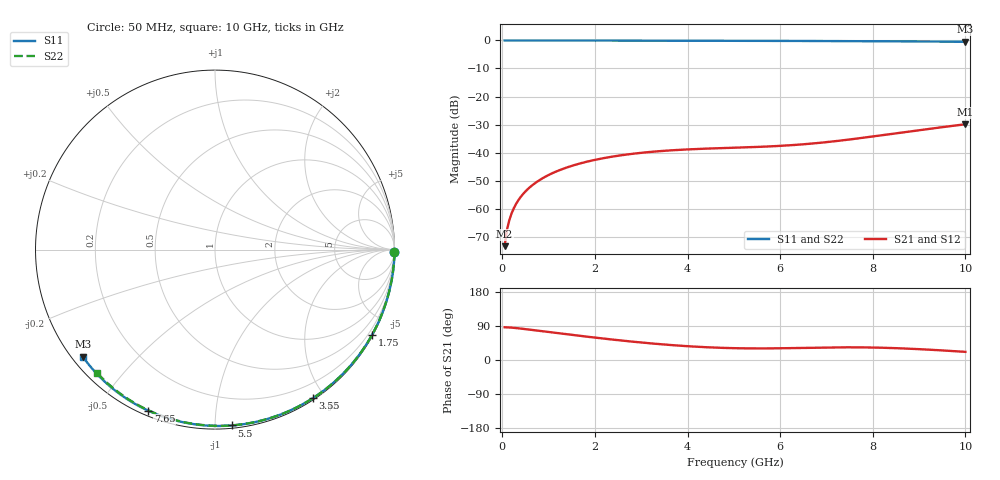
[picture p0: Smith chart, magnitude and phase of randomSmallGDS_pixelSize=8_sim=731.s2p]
! freq	dB(S11)	phase(S11)	dB(S12)	phase(S12)
!  dB(S21)	phase(S21)	dB(S22)	phase(S22)
!S-par simulation data
#  GHz  S  DB  R 50
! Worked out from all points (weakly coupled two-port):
!   200 points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, 50 MHz to 10 GHz, reference 50 ohm
!   highest |S21| = -29.88 dB at 10 GHz (marker M1); lowest = -73.4 dB at 50 MHz (marker M2)
!   lowest |S11| = -0.5 dB at 10 GHz (marker M3), VSWR 37.33, Z = 1.51 - j17.7 ohm
!   |S11| at or under -10 dB: nowhere
!   |S22| runs from -0.4 to 0.0 dB; largest |S21 - S12| = 0
!   S11 on the Smith chart (normalised r, x): 50 MHz: open; 1.75 GHz: 0.03, -3.92; 3.55 GHz: 0.02, -1.86; 5.5 GHz: 0.02, -1.10; 7.65 GHz: 0.02, -0.67; 10 GHz: 0.03, -0.35
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0.05  -0.00 -0.8  -73.36 86.4  -73.36 86.4  -0.00 -0.8
0.1  -0.00 -1.7  -67.60 86.1  -67.60 86.1  -0.00 -1.6
0.15  -0.00 -2.5  -64.16 85.9  -64.16 85.9  -0.00 -2.4
0.2  -0.00 -3.3  -61.71 85.5  -61.71 85.5  -0.00 -3.2
0.25  -0.00 -4.2  -59.79 84.9  -59.79 84.9  -0.00 -3.9
0.35  -0.00 -5.8  -56.90 83.6  -56.90 83.6  -0.00 -5.5
0.5  -0.01 -8.3  -53.84 81.5  -53.84 81.5  -0.01 -7.9
0.7  -0.01 -11.6  -50.97 78.5  -50.97 78.5  -0.01 -11.0
1  -0.02 -16.5  -47.98 73.9  -47.98 73.9  -0.02 -15.6
1.35  -0.03 -22.2  -45.55 68.6  -45.55 68.6  -0.03 -21.0
1.75  -0.04 -28.7  -43.55 62.7  -43.55 62.7  -0.03 -27.1
2.5  -0.05 -40.5  -41.11 52.3  -41.11 52.3  -0.05 -38.3
3.4  -0.07 -54.3  -39.47 41.8  -39.47 41.8  -0.07 -51.5
3.55  -0.08 -56.6  -39.29 40.3  -39.29 40.3  -0.07 -53.6
4.3  -0.10 -67.6  -38.64 34.3  -38.64 34.3  -0.09 -64.1
5.05  -0.12 -78.3  -38.23 31.1  -38.23 31.1  -0.11 -74.2
5.5  -0.14 -84.5  -37.97 30.5  -37.97 30.5  -0.13 -80.1
6.7  -0.19 -100.4  -36.75 32.5  -36.75 32.5  -0.18 -95.3
7.65  -0.25 -112.5  -35.00 33.4  -35.00 33.4  -0.24 -106.8
8.35  -0.30 -121.1  -33.46 31.9  -33.46 31.9  -0.29 -115.0
9.2  -0.38 -131.4  -31.57 27.4  -31.57 27.4  -0.36 -124.8
10  -0.47 -141.1  -29.88 21.5  -29.88 21.5  -0.44 -133.8
